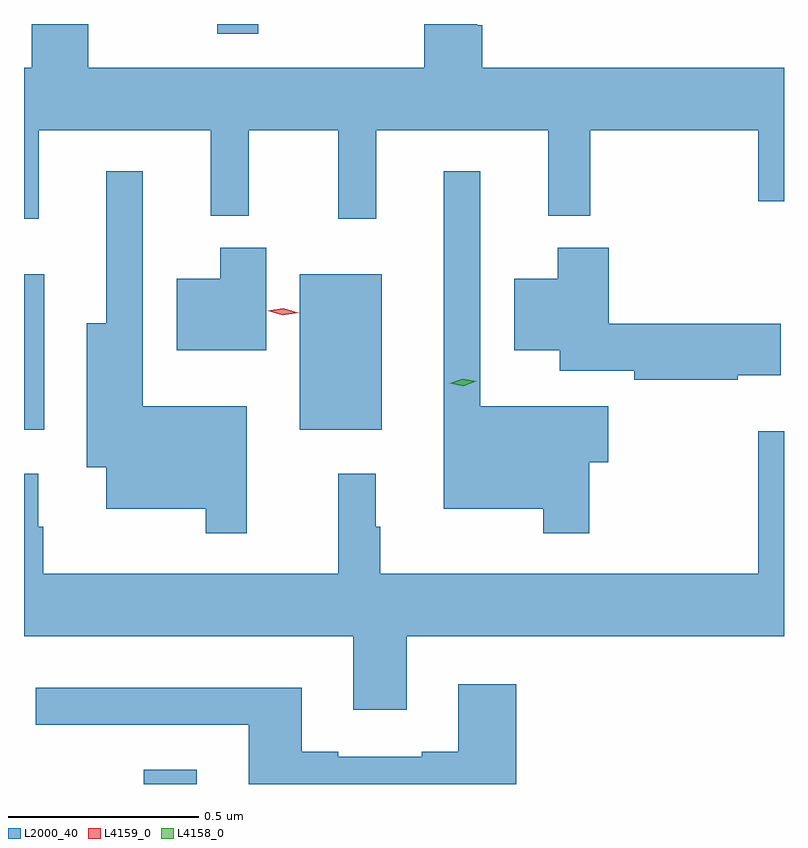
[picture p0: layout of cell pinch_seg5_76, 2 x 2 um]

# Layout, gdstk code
import gdstk
lib = gdstk.Library(unit=1e-6, precision=1e-09)
def R(c, l, rs):  # rectangles x0, y0, x1, y1
    for r in rs: c.add(gdstk.rectangle(r[:2], r[2:], *l))
def P(c, l, *ps):  # polygons
    for p in ps: c.add(gdstk.Polygon(p, *l))
L2000_40 = (2000, 40)
L4158_0 = (4158, 0)
L4159_0 = (4159, 0)

pinch_seg5_76 = lib.new_cell('pinch_seg5_76')
R(pinch_seg5_76, L2000_40, [(1050.503,905.655,1050.643,905.692), (1050.188,906.587,1050.241,906.997), (1050.914,906.587,1051.129,906.997), (1050.696,907.629,1050.804,907.655)])
P(pinch_seg5_76, L2000_40, [(1050.227,907.376),(1050.68,907.376),(1050.68,907.151),(1050.78,907.151),(1050.78,907.376),(1051.015,907.376),(1051.015,907.143),(1051.115,907.143),(1051.115,907.376),(1051.568,907.376),(1051.568,907.151),(1051.678,907.151),(1051.678,907.376),(1052.12,907.376),(1052.12,907.188),(1052.188,907.188),(1052.188,907.54),(1051.394,907.54),(1051.394,907.652),(1051.381,907.652),(1051.381,907.655),(1051.241,907.655),(1051.241,907.54),(1050.357,907.54),(1050.357,907.655),(1050.209,907.655),(1050.209,907.54),(1050.188,907.54),(1050.188,907.143),(1050.227,907.143)],
  [(1050.774,906.649),(1050.501,906.649),(1050.501,907.267),(1050.404,907.267),(1050.404,906.868),(1050.353,906.868),(1050.353,906.488),(1050.404,906.488),(1050.404,906.38),(1050.666,906.38),(1050.666,906.315),(1050.774,906.315)],
  [(1051.675,906.502),(1051.726,906.502),(1051.726,906.649),(1051.389,906.649),(1051.389,907.267),(1051.292,907.267),(1051.292,906.38),(1051.554,906.38),(1051.554,906.315),(1051.675,906.315)],
  [(1052.066,906.731),(1052.179,906.731),(1052.179,906.866),(1051.727,906.866),(1051.727,907.066),(1051.592,907.066),(1051.592,906.985),(1051.478,906.985),(1051.478,906.797),(1051.598,906.797),(1051.598,906.743),(1051.794,906.743),(1051.794,906.719),(1052.066,906.719)],
  [(1050.826,907.066),(1050.704,907.066),(1050.704,906.985),(1050.59,906.985),(1050.59,906.797),(1050.826,906.797)],
  [(1051.195,906.044),(1052.188,906.044),(1052.188,906.583),(1052.12,906.583),(1052.12,906.208),(1051.126,906.208),(1051.126,906.332),(1051.114,906.332),(1051.114,906.472),(1051.015,906.472),(1051.015,906.208),(1050.238,906.208),(1050.238,906.332),(1050.225,906.332),(1050.225,906.472),(1050.188,906.472),(1050.188,906.044),(1051.055,906.044),(1051.055,905.85),(1051.195,905.85)],
  [(1051.484,905.917),(1051.331,905.917),(1051.331,905.74),(1051.235,905.74),(1051.235,905.727),(1051.015,905.727),(1051.015,905.74),(1050.919,905.74),(1050.919,905.908),(1050.219,905.908),(1050.219,905.811),(1050.779,905.811),(1050.779,905.655),(1051.484,905.655)])
P(pinch_seg5_76, L4158_0, [(1051.344,906.702),(1051.308,906.71),(1051.308,906.71),(1051.308,906.71),(1051.342,906.722),(1051.378,906.715),(1051.379,906.715),(1051.378,906.715)])
P(pinch_seg5_76, L4159_0, [(1050.869,906.888),(1050.829,906.9),(1050.829,906.9),(1050.829,906.9),(1050.87,906.907),(1050.91,906.895),(1050.911,906.895),(1050.91,906.895)])

lib.write_gds('pinch_seg5_76.gds')
